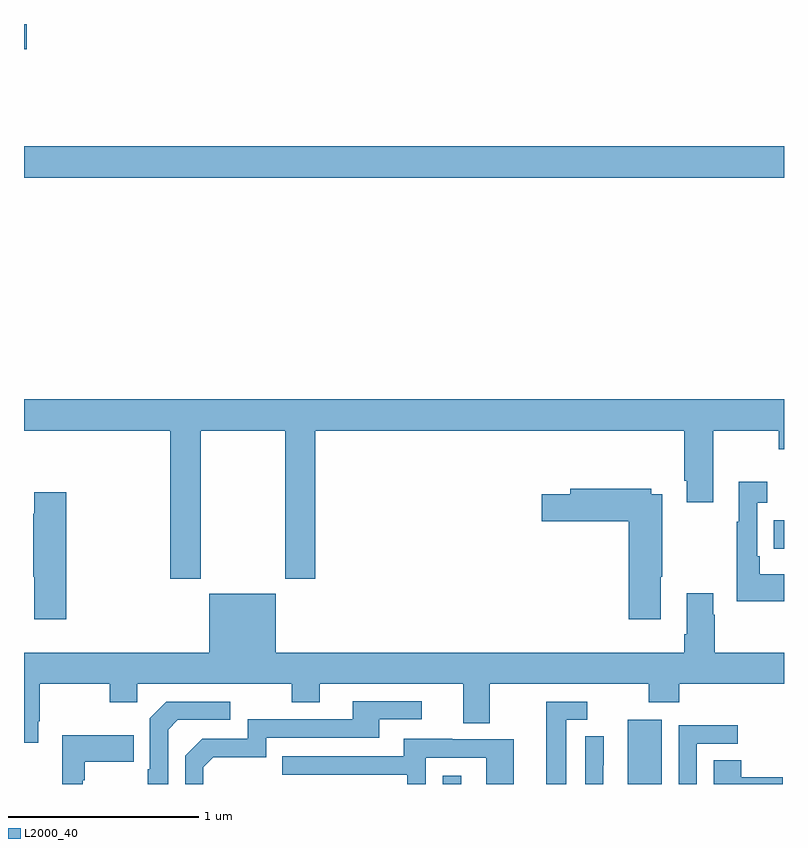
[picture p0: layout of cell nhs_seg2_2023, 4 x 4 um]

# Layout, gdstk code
import gdstk
lib = gdstk.Library(unit=1e-6, precision=1e-09)
def R(c, l, rs):  # rectangles x0, y0, x1, y1
    for r in rs: c.add(gdstk.rectangle(r[:2], r[2:], *l))
def P(c, l, *ps):  # polygons
    for p in ps: c.add(gdstk.Polygon(p, *l))
L2000_40 = (2000, 40)

nhs_seg2_2023 = lib.new_cell('nhs_seg2_2023')
R(nhs_seg2_2023, L2000_40, [(219.204,621.8,219.301,621.844), (220.178,621.8,220.357,622.138), (220.945,623.039,221,623.187), (217,624.992,221,625.156), (217,625.667,217.015,625.8)])
P(nhs_seg2_2023, L2000_40, [(217.929,623.66),(218.374,623.66),(218.374,622.881),(218.534,622.881),(218.534,623.66),(220.475,623.66),(220.475,623.395),(220.487,623.395),(220.487,623.283),(220.627,623.283),(220.627,623.66),(220.972,623.66),(220.972,623.561),(221,623.561),(221,623.824),(217,623.824),(217,623.66),(217.769,623.66),(217.769,622.881),(217.929,622.881)],
  [(221,622.903),(220.873,622.903),(220.873,622.999),(220.86,622.999),(220.86,623.279),(220.912,623.279),(220.912,623.392),(220.763,623.392),(220.763,623.179),(220.752,623.179),(220.752,622.763),(221,622.763)],
  [(220.351,622.891),(220.359,622.891),(220.359,623.326),(220.302,623.326),(220.302,623.355),(219.875,623.355),(219.875,623.325),(219.726,623.325),(219.726,623.183),(220.184,623.183),(220.184,622.668),(220.351,622.668)],
  [(217.223,623.335),(217.055,623.335),(217.055,623.222),(217.048,623.222),(217.048,622.891),(217.055,622.891),(217.055,622.668),(217.223,622.668)],
  [(217.075,622.129),(217.083,622.129),(217.083,622.328),(217.45,622.328),(217.45,622.229),(217.596,622.229),(217.596,622.328),(218.41,622.328),(218.41,622.229),(218.557,622.229),(218.557,622.328),(219.311,622.328),(219.311,622.12),(219.451,622.12),(219.451,622.328),(220.288,622.328),(220.288,622.229),(220.448,622.229),(220.448,622.328),(221,622.328),(221,622.492),(220.635,622.492),(220.635,622.691),(220.627,622.691),(220.627,622.804),(220.487,622.804),(220.487,622.588),(220.475,622.588),(220.475,622.492),(218.326,622.492),(218.326,622.801),(217.976,622.801),(217.976,622.492),(217,622.492),(217,622.017),(217.075,622.017)],
  [(217.944,621.888),(217.997,621.941),(218.274,621.941),(218.274,622.044),(218.869,622.044),(218.869,622.14),(219.094,622.14),(219.094,622.236),(218.729,622.236),(218.729,622.14),(218.178,622.14),(218.178,622.038),(217.938,622.038),(217.848,621.948),(217.848,621.8),(217.944,621.8)],
  [(217.758,622.086),(217.809,622.137),(218.086,622.137),(218.086,622.233),(217.749,622.233),(217.662,622.146),(217.662,621.877),(217.65,621.877),(217.65,621.8),(217.758,621.8)],
  [(219.853,622.137),(219.964,622.137),(219.964,622.233),(219.749,622.233),(219.749,621.8),(219.853,621.8)],
  [(220.542,622.011),(220.756,622.011),(220.756,622.11),(220.446,622.11),(220.446,621.8),(220.542,621.8)],
  [(217.308,621.821),(217.321,621.821),(217.321,621.917),(217.577,621.917),(217.577,622.057),(217.2,622.057),(217.2,621.8),(217.308,621.8)],
  [(220.049,621.898),(220.05,621.898),(220.05,622.052),(219.954,622.052),(219.954,621.8),(220.049,621.8)],
  [(219.114,621.939),(219.432,621.939),(219.432,621.8),(219.577,621.8),(219.577,622.035),(219.253,622.035),(219.253,622.039),(218.999,622.039),(218.999,621.945),(218.359,621.945),(218.359,621.849),(219.018,621.849),(219.018,621.8),(219.114,621.8)],
  [(220.993,621.836),(220.775,621.836),(220.775,621.926),(220.631,621.926),(220.631,621.8),(220.993,621.8)])

lib.write_gds('nhs_seg2_2023.gds')
